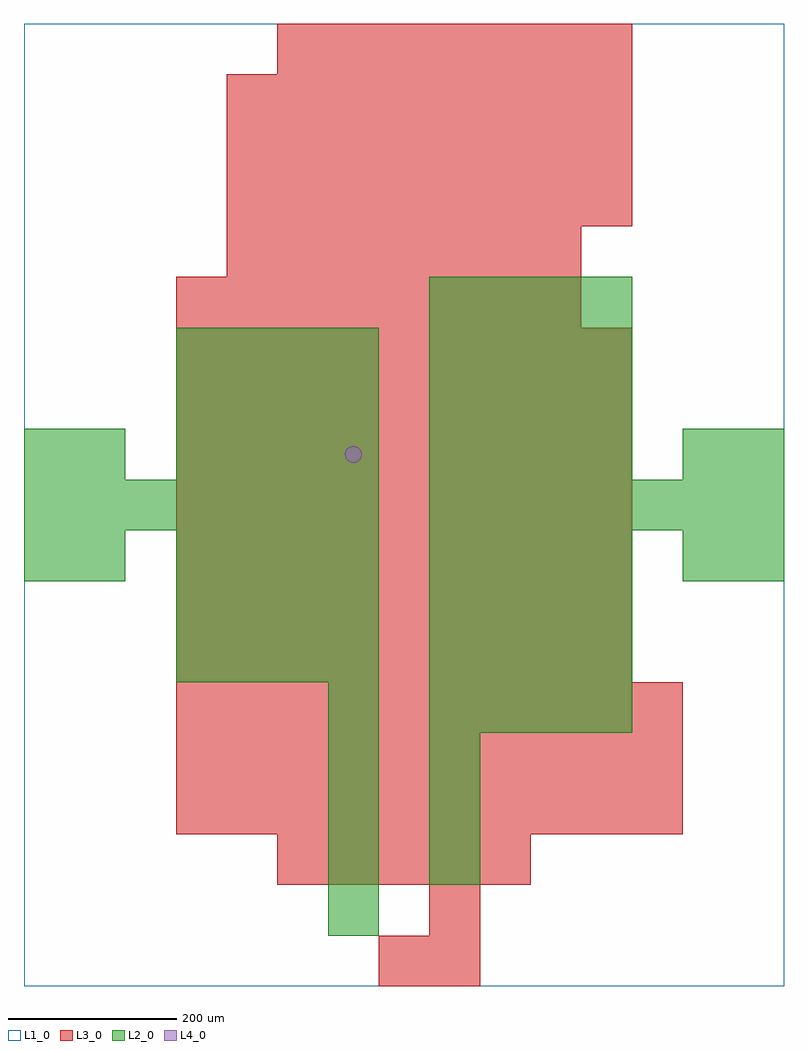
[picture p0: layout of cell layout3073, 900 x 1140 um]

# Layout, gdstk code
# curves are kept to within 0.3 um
import gdstk
lib = gdstk.Library(unit=1e-6, precision=1e-09)
def R(c, l, rs):  # rectangles x0, y0, x1, y1
    for r in rs: c.add(gdstk.rectangle(r[:2], r[2:], *l))
def A(c, l, x, y, w, h, nx, ny, dx, dy):  # array of equal rectangles
    R(c, l, [(x+i*dx, y+j*dy, x+i*dx+w, y+j*dy+h) for i in range(nx) for j in range(ny)])
def P(c, l, *ps):  # polygons
    for p in ps: c.add(gdstk.Polygon(p, *l))
L1_0 = (1, 0)
L2_0 = (2, 0)
L3_0 = (3, 0)
L4_0 = (4, 0)

layout3073 = lib.new_cell('layout3073')
R(layout3073, L1_0, [(0,0,900,1140)])
A(layout3073, L2_0, 360, 60, 60, 60, 1, 5, 0, 60)
A(layout3073, L2_0, 480, 120, 60, 60, 1, 3, 0, 60)
A(layout3073, L2_0, 480, 300, 60, 60, 4, 4, 60, 60)
A(layout3073, L2_0, 180, 360, 60, 60, 4, 3, 60, 60)
A(layout3073, L2_0, 0, 540, 60, 60, 7, 1, 60, 0)
A(layout3073, L2_0, 480, 540, 60, 60, 7, 1, 60, 0)
A(layout3073, L2_0, 180, 600, 60, 60, 4, 3, 60, 60)
A(layout3073, L2_0, 480, 600, 60, 60, 4, 4, 60, 60)
R(layout3073, L2_0, [(0,480,60,540), (60,480,120,540), (780,480,840,540), (840,480,900,540), (0,600,60,660), (60,600,120,660), (780,600,840,660), (840,600,900,660)])
A(layout3073, L3_0, 300, 120, 60, 60, 5, 1, 60, 0)
A(layout3073, L3_0, 180, 180, 60, 60, 10, 3, 60, 60)
A(layout3073, L3_0, 180, 360, 60, 60, 9, 7, 60, 60)
A(layout3073, L3_0, 180, 780, 60, 60, 8, 1, 60, 0)
A(layout3073, L3_0, 240, 840, 60, 60, 7, 1, 60, 0)
A(layout3073, L3_0, 240, 900, 60, 60, 8, 3, 60, 60)
A(layout3073, L3_0, 300, 1080, 60, 60, 7, 1, 60, 0)
R(layout3073, L3_0, [(420,0,480,60), (480,0,540,60), (480,60,540,120)])
P(layout3073, L4_0, [(400,630),(399.239,633.827),(397.071,637.071),(393.827,639.239),(390,640),(386.173,639.239),(382.929,637.071),(380.761,633.827),(380,630),(380.761,626.173),(382.929,622.929),(386.173,620.761),(390,620),(393.827,620.761),(397.071,622.929),(399.239,626.173)])

lib.write_gds('layout3073.gds')
